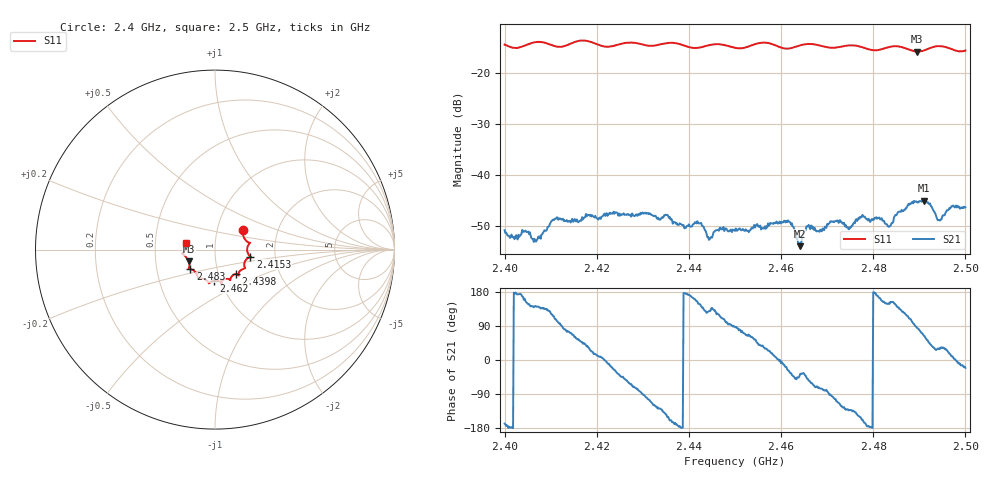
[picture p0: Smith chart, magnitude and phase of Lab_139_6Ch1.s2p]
# Hz S RI R 50
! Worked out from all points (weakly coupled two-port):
!   601 points, 2.4 GHz to 2.5 GHz, reference 50 ohm
!   highest |S21| = -45.07 dB at 2.491 GHz (marker M1); lowest = -54.0 dB at 2.464 GHz (marker M2)
!   lowest |S11| = -15.9 dB at 2.4895 GHz (marker M3), VSWR 1.38, Z = 36.9 - j5 ohm
!   |S11| at or under -10 dB: start of sweep to end of sweep
!   S12 and S22 are empty: the file has one direction only
!   S11 on the Smith chart (normalised r, x): 2.4 GHz: 1.33, +0.29; 2.4153 GHz: 1.48, -0.12; 2.4398 GHz: 1.21, -0.34; 2.462 GHz: 0.93, -0.33; 2.483 GHz: 0.74, -0.17; 2.5 GHz: 0.72, +0.06
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2.4e9  0.1551 0.1065  -0.00279 -0.000598  0 0  0 0
2.406667e9  0.1952 0.038  -0.00181 0.00138  0 0  0 0
2.411e9  0.1808 0.0136  -0.0011 0.00353  0 0  0 0
2.415333e9  0.1964 -0.0388  0.00177 0.00317  0 0  0 0
2.416667e9  0.2019 -0.0429  0.00238 0.0026  0 0  0 0
2.433333e9  0.131 -0.1337  -0.00235 -0.00297  0 0  0 0
2.439833e9  0.1151 -0.1364  -0.00312 0.000454  0 0  0 0
2.442333e9  0.0931 -0.1494  -0.00281 0.00179  0 0  0 0
2.4445e9  0.0849 -0.166  -0.00148 0.00178  0 0  0 0
2.45e9  0.0647 -0.1628  0.000118 0.00281  0 0  0 0
2.462e9  -0.00507 -0.1732  0.0028 -0.00192  0 0  0 0
2.464e9  -0.027 -0.1824  0.00147 -0.00134  0 0  0 0
2.466667e9  -0.0342 -0.1877  0.00153 -0.00275  0 0  0 0
2.474667e9  -0.0912 -0.1607  -0.00198 -0.00214  0 0  0 0
2.477667e9  -0.0982 -0.1475  -0.00373 -0.00154  0 0  0 0
2.483e9  -0.1377 -0.1095  -0.00277 0.00171  0 0  0 0
2.483333e9  -0.1402 -0.1091  -0.00266 0.00157  0 0  0 0
2.4895e9  -0.1465 -0.0659  0.000469 0.00533  0 0  0 0
2.491e9  -0.1585 -0.0456  0.00246 0.00501  0 0  0 0
2.494333e9  -0.1806 -0.0217  0.00307 0.00182  0 0  0 0
2.497e9  -0.17 -0.00667  0.00484 0.000831  0 0  0 0
2.5e9  -0.1599 0.0392  0.00448 -0.0017  0 0  0 0
